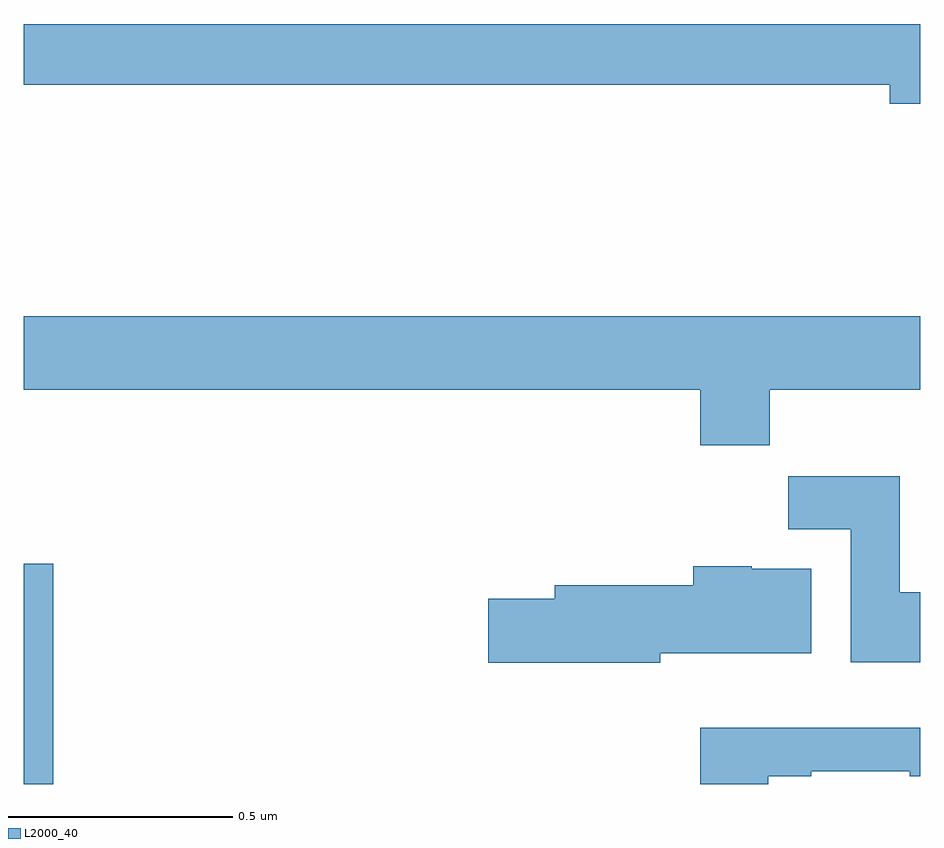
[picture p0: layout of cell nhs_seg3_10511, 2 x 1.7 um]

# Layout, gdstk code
import gdstk
lib = gdstk.Library(unit=1e-6, precision=1e-09)
def R(c, l, rs):  # rectangles x0, y0, x1, y1
    for r in rs: c.add(gdstk.rectangle(r[:2], r[2:], *l))
def P(c, l, *ps):  # polygons
    for p in ps: c.add(gdstk.Polygon(p, *l))
L2000_40 = (2000, 40)

nhs_seg3_10511 = lib.new_cell('nhs_seg3_10511')
R(nhs_seg3_10511, L2000_40, [(242,669.4,242.066,669.892)])
P(nhs_seg3_10511, L2000_40, [(244,671.096),(242,671.096),(242,670.96),(243.932,670.96),(243.932,670.918),(244,670.918)],
  [(243.665,670.28),(244,670.28),(244,670.444),(242,670.444),(242,670.28),(243.509,670.28),(243.509,670.156),(243.665,670.156)],
  [(244,669.828),(243.955,669.828),(243.955,670.087),(243.706,670.087),(243.706,669.968),(243.845,669.968),(243.845,669.672),(244,669.672)],
  [(243.42,669.692),(243.757,669.692),(243.757,669.88),(243.624,669.88),(243.624,669.886),(243.494,669.886),(243.494,669.843),(243.185,669.843),(243.185,669.813),(243.036,669.813),(243.036,669.671),(243.42,669.671)],
  [(243.661,669.417),(243.757,669.417),(243.757,669.429),(243.977,669.429),(243.977,669.417),(244,669.417),(244,669.526),(243.509,669.526),(243.509,669.4),(243.661,669.4)])

lib.write_gds('nhs_seg3_10511.gds')
